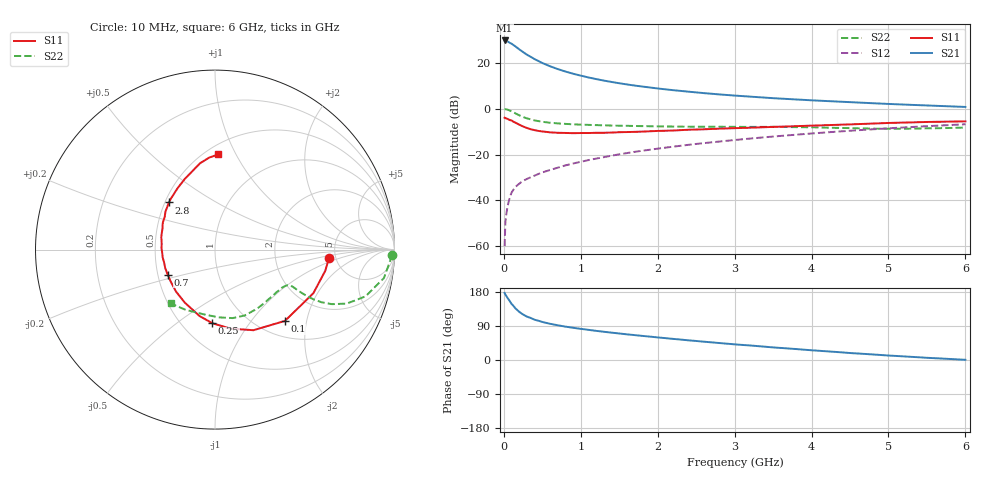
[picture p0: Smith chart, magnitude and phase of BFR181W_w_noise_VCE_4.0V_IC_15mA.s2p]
! (c) 2017  Infineon Technologies AG, Munich
! Infineon Technologies  Discrete & RF Semiconductors
! BFR181W
! VCE =  4.0 V,  IC =  15 mA
! Common Emitter S-Parameters:  Jan 2017
# GHz  S  MA  R  50
!  f  S11  S21  S12  S22
! GHz  MAG  ANG  MAG  ANG  MAG  ANG  MAG  ANG
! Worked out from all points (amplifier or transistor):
!   77 points, 10 MHz to 6 GHz, reference 50 ohm
!   highest |S21| = 29.8 dB at 10 MHz (marker M1)
!   |S21| within 3 dB of that: start of sweep to 166.2 MHz
!   unconditionally stable (mu >= 1): 771.4 MHz to 2.661 GHz
!   at 130 MHz: K = 0.36, MSG = 31.4 dB, |S12| = -35.1 dB
!   at 2.2 GHz: K = 1.04, MAG = 11.1 dB, |S12| = -16.6 dB
!   at 6 GHz: K = 0.83, MSG = 3.8 dB, |S12| = -6.8 dB
!   lowest NFmin = 1.47 dB at 450 MHz
!   S11 on the Smith chart (normalised r, x): 10 MHz: 4.41, -0.66; 100 MHz: 1.30, -1.50; 250 MHz: 0.69, -0.68; 700 MHz: 0.56, -0.17; 2.8 GHz: 0.52, +0.32; 6 GHz: 0.58, +0.85
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0.01  0.6376 -4.0  30.9 177.0  0.001 92.8  0.9839 -1.7
0.02  0.6256 -10.9  30.65 172.8  0.0033 95.3  0.978 -3.6
0.05  0.5994 -23.9  29.36 163.1  0.0075 79.4  0.9542 -9.6
0.1  0.5564 -45.6  26.28 148.1  0.0147 73.1  0.8775 -17.3
0.15  0.4976 -64.5  22.94 136.4  0.0196 67.2  0.7929 -22.3
0.2  0.4487 -78.9  19.8 127.1  0.0231 65.0  0.7192 -25.0
0.25  0.4103 -92.1  17.25 120.0  0.0268 63.2  0.6616 -26.3
0.3  0.38 -103.1  15.12 114.5  0.0293 62.8  0.6155 -26.8
0.4  0.3404 -119.5  12.08 106.3  0.0347 63.2  0.5554 -26.7
0.5  0.3191 -132.9  9.949 100.4  0.0407 65.2  0.5183 -26.3
0.6  0.3051 -143.4  8.462 95.6  0.046 65.4  0.4944 -25.8
0.7  0.2982 -152.1  7.341 91.7  0.0516 68.0  0.4782 -25.5
0.9  0.2925 -165.9  5.804 85.0  0.0637 69.2  0.4569 -25.9
1.1  0.2947 -176.7  4.817 79.6  0.0756 70.7  0.444 -26.9
1.3  0.2984 174.2  4.11 74.5  0.0876 71.0  0.4343 -28.6
1.5  0.3072 167.1  3.598 70.0  0.101 71.3  0.4261 -30.7
2.1  0.3306 149.6  2.651 57.7  0.1414 70.2  0.4101 -39.8
2.8  0.3673 134.4  2.054 44.8  0.192 67.2  0.4039 -52.9
3.1  0.3805 128.5  1.887 39.8  0.2152 65.2  0.4019 -58.6
4.1  0.4325 111.8  1.498 24.3  0.2963 58.0  0.3896 -77.8
5.1  0.4934 98.4  1.252 10.7  0.3816 48.9  0.3653 -104.2
6  0.5305 88.0  1.094 0.5  0.458 39.7  0.3885 -129.5
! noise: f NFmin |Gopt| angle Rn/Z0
0.45  1.47  0.04  14  0.21
0.9  1.52  0.04  31  0.21
1.9  1.95  0.13  -139  0.22
2.4  2.2  0.16  -109  0.28
